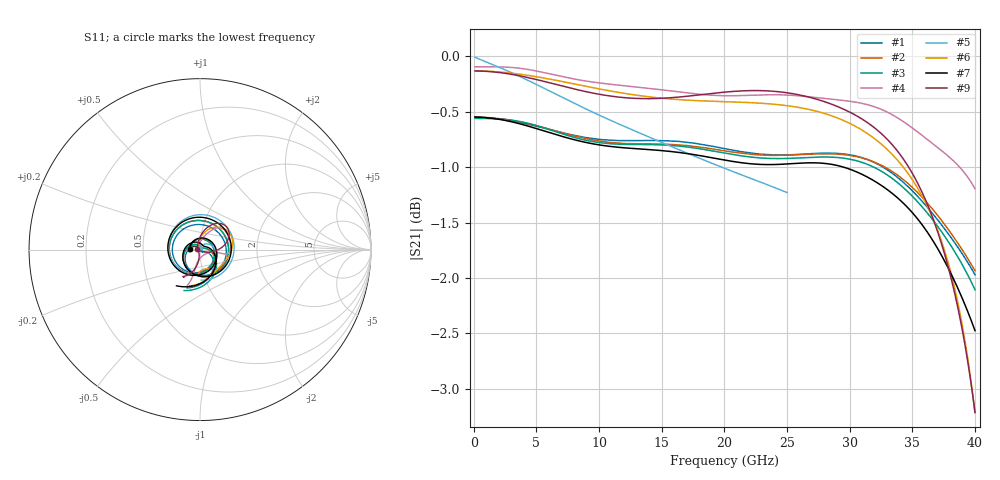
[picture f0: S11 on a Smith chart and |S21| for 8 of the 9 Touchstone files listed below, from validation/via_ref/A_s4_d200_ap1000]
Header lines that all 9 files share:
# Hz S RI R 50
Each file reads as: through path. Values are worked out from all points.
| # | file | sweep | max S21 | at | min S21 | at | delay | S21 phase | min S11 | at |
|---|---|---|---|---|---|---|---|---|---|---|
| 1 | cst.s2p | 100 MHz to 40 GHz | -0.55 dB | 200 MHz | -2.0 dB | 40 GHz | 61.9 ps | -78 deg at 20.1 GHz | -41.3 dB | 30.9 GHz |
| 2 | cst_fine.s2p | 100 MHz to 40 GHz | -0.55 dB | 200 MHz | -1.9 dB | 40 GHz | 61.6 ps | -77 deg at 20.1 GHz | -35.6 dB | 32.5 GHz |
| 3 | kisi.s2p | 100 MHz to 40 GHz | -0.56 dB | 100 MHz | -2.1 dB | 40 GHz | 62 ps | -79 deg at 20.1 GHz | -35.3 dB | 32.3 GHz |
| 4 | kisi_deembedded.s2p | 100 MHz to 40 GHz | -0.10 dB | 1.3 GHz | -1.2 dB | 40 GHz | 11.6 ps | -78 deg at 20.1 GHz | -40.9 dB | 100 MHz |
| 5 | kisi_model.s2p | 100 MHz to 25 GHz | -0.01 dB | 100 MHz | -1.2 dB | 25 GHz | 59.4 ps | 92 deg at 12.6 GHz | -53.6 dB | 100 MHz |
| 6 | ladder.s2p | 100 MHz to 40 GHz | -0.13 dB | 100 MHz | -3.2 dB | 40 GHz | 14.5 ps | -84 deg at 20.1 GHz | -36.2 dB | 100 MHz |
| 7 | openems.s2p | 100 MHz to 40 GHz | -0.55 dB | 100 MHz | -2.5 dB | 40 GHz | 62.4 ps | -81 deg at 20.1 GHz | -30.6 dB | 32.3 GHz |
| 8 | openems_base.s2p | 100 MHz to 40 GHz | -0.56 dB | 100 MHz | -2.7 dB | 40 GHz | 62.7 ps | -83 deg at 20.1 GHz | -27.9 dB | 32 GHz |
| 9 | pbm.s2p | 100 MHz to 40 GHz | -0.13 dB | 100 MHz | -3.2 dB | 40 GHz | 14.9 ps | -85 deg at 20.1 GHz | -43.9 dB | 27.8 GHz |
